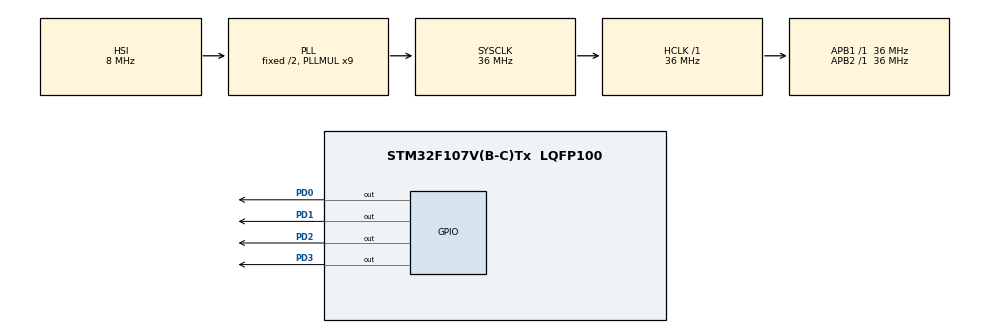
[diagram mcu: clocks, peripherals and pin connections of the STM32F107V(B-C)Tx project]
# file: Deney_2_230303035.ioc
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Mcu.Family=STM32F1
Mcu.Name=STM32F107V(B-C)Tx
Mcu.Package=LQFP100
NVIC.PriorityGroup=NVIC_PRIORITYGROUP_4
NVIC.TIM1_UP_IRQn=true\:0\:0\:false\:false\:true\:true\:true\:true
PA13.Mode=Serial_Wire
PA13.Signal=SYS_JTMS-SWDIO
PA14.Mode=Serial_Wire
PA14.Signal=SYS_JTCK-SWCLK
PD0.GPIO_Speed=GPIO_SPEED_FREQ_HIGH
PD0.Signal=GPIO_Output
PD1.GPIO_Speed=GPIO_SPEED_FREQ_HIGH
PD1.Signal=GPIO_Output
PD2.GPIO_Speed=GPIO_SPEED_FREQ_HIGH
PD2.Signal=GPIO_Output
PD3.GPIO_Speed=GPIO_SPEED_FREQ_HIGH
PD3.Signal=GPIO_Output
ProjectManager.HeapSize=0x200
ProjectManager.StackSize=0x400
ProjectManager.TargetToolchain=STM32CubeIDE
RCC.AHBFreq_Value=36000000
RCC.APB1Freq_Value=36000000
RCC.APB1TimFreq_Value=36000000
RCC.APB2Freq_Value=36000000
RCC.APB2TimFreq_Value=36000000
RCC.HCLKFreq_Value=36000000
RCC.PLLMUL=RCC_PLL_MUL9
RCC.SYSCLKFreq_VALUE=36000000
RCC.SYSCLKSource=RCC_SYSCLKSOURCE_PLLCLK
RCC.USBFreq_Value=24000000
TIM1.Period=500-1
TIM1.Prescaler=36-1
VP_TIM1_VS_ClockSourceINT.Mode=Internal
board=custom

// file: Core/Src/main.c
/* USER CODE BEGIN Header */
/**
  ******************************************************************************
  * @file           : main.c
  * @brief          : Main program body
  ******************************************************************************
  * @attention
  *
  * Copyright (c) 2026 STMicroelectronics.
  * All rights reserved.
  *
  * This software is licensed under terms that can be found in the LICENSE file
  * in the root directory of this software component.
  * If no LICENSE file comes with this software, it is provided AS-IS.
  *
  ******************************************************************************
  */
/* USER CODE END Header */
#include "main.h"

TIM_HandleTypeDef htim1;

void SystemClock_Config(void);
static void MX_GPIO_Init(void);
static void MX_TIM1_Init(void);

/* USER CODE BEGIN 0 */
	uint32_t count = 0;
/* USER CODE END 0 */

int main(void)
{

  /* MCU Configuration--------------------------------------------------------*/

  /* Reset of all peripherals, Initializes the Flash interface and the Systick. */
  HAL_Init();

  /* Configure the system clock */
  SystemClock_Config();

  /* Initialize all configured peripherals */
  MX_GPIO_Init();
  MX_TIM1_Init();
  /* USER CODE BEGIN 2 */

  HAL_TIM_Base_Start_IT(&htim1);

  /* USER CODE END 2 */

  /* Infinite loop */
  while (1)
    {

    /* USER CODE BEGIN 3 */
  	  switch(count)
  	  {
  	  case 1:
  		  GPIOD->ODR=0x00000008;
  		  break ;
  	  case 2:
  		  GPIOD->ODR=0x00000004;
  		  break ;
  	  case 3:
  		  GPIOD->ODR=0x00000002 ;
  		  break ;
  	  case 4:
  		  GPIOD->ODR=0x00000001 ;
  		  break ;
  	  default :
  		  count=1;
  		  GPIOD->ODR=0x00000000 ;
  		  break;
  	  }
    }
  /* USER CODE END 3 */
}

void SystemClock_Config(void)
{
  RCC_OscInitTypeDef RCC_OscInitStruct = {0};
  RCC_ClkInitTypeDef RCC_ClkInitStruct = {0};

  /** Initializes the RCC Oscillators according to the specified parameters
  * in the RCC_OscInitTypeDef structure.
  */
  RCC_OscInitStruct.OscillatorType = RCC_OSCILLATORTYPE_HSI;
  RCC_OscInitStruct.HSIState = RCC_HSI_ON;
  RCC_OscInitStruct.HSICalibrationValue = RCC_HSICALIBRATION_DEFAULT;
  RCC_OscInitStruct.Prediv1Source = RCC_PREDIV1_SOURCE_HSE;
  RCC_OscInitStruct.PLL.PLLState = RCC_PLL_ON;
  RCC_OscInitStruct.PLL.PLLSource = RCC_PLLSOURCE_HSI_DIV2;
  RCC_OscInitStruct.PLL.PLLMUL = RCC_PLL_MUL9;
  RCC_OscInitStruct.PLL2.PLL2State = RCC_PLL_NONE;
  if (HAL_RCC_OscConfig(&RCC_OscInitStruct) != HAL_OK)
  {
    Error_Handler();
  }

  /** Initializes the CPU, AHB and APB buses clocks
  */
  RCC_ClkInitStruct.ClockType = RCC_CLOCKTYPE_HCLK|RCC_CLOCKTYPE_SYSCLK
                              |RCC_CLOCKTYPE_PCLK1|RCC_CLOCKTYPE_PCLK2;
  RCC_ClkInitStruct.SYSCLKSource = RCC_SYSCLKSOURCE_PLLCLK;
  RCC_ClkInitStruct.AHBCLKDivider = RCC_SYSCLK_DIV1;
  RCC_ClkInitStruct.APB1CLKDivider = RCC_HCLK_DIV1;
  RCC_ClkInitStruct.APB2CLKDivider = RCC_HCLK_DIV1;

  if (HAL_RCC_ClockConfig(&RCC_ClkInitStruct, FLASH_LATENCY_1) != HAL_OK)
  {
    Error_Handler();
  }

  /** Configure the Systick interrupt time
  */
  __HAL_RCC_PLLI2S_ENABLE();
}

static void MX_TIM1_Init(void)
{

  TIM_ClockConfigTypeDef sClockSourceConfig = {0};
  TIM_MasterConfigTypeDef sMasterConfig = {0};

  htim1.Instance = TIM1;
  htim1.Init.Prescaler = 36-1;
  htim1.Init.CounterMode = TIM_COUNTERMODE_UP;
  htim1.Init.Period = 500-1;
  htim1.Init.ClockDivision = TIM_CLOCKDIVISION_DIV1;
  htim1.Init.RepetitionCounter = 0;
  htim1.Init.AutoReloadPreload = TIM_AUTORELOAD_PRELOAD_DISABLE;
  if (HAL_TIM_Base_Init(&htim1) != HAL_OK)
  {
    Error_Handler();
  }
  sClockSourceConfig.ClockSource = TIM_CLOCKSOURCE_INTERNAL;
  if (HAL_TIM_ConfigClockSource(&htim1, &sClockSourceConfig) != HAL_OK)
  {
    Error_Handler();
  }
  sMasterConfig.MasterOutputTrigger = TIM_TRGO_RESET;
  sMasterConfig.MasterSlaveMode = TIM_MASTERSLAVEMODE_DISABLE;
  if (HAL_TIMEx_MasterConfigSynchronization(&htim1, &sMasterConfig) != HAL_OK)
  {
    Error_Handler();
  }

}

static void MX_GPIO_Init(void)
{
  GPIO_InitTypeDef GPIO_InitStruct = {0};

  /* GPIO Ports Clock Enable */
  __HAL_RCC_GPIOA_CLK_ENABLE();
  __HAL_RCC_GPIOD_CLK_ENABLE();

  /*Configure GPIO pin Output Level */
  HAL_GPIO_WritePin(GPIOD, GPIO_PIN_0|GPIO_PIN_1|GPIO_PIN_2|GPIO_PIN_3, GPIO_PIN_RESET);

  /*Configure GPIO pins : PD0 PD1 PD2 PD3 */
  GPIO_InitStruct.Pin = GPIO_PIN_0|GPIO_PIN_1|GPIO_PIN_2|GPIO_PIN_3;
  GPIO_InitStruct.Mode = GPIO_MODE_OUTPUT_PP;
  GPIO_InitStruct.Pull = GPIO_NOPULL;
  GPIO_InitStruct.Speed = GPIO_SPEED_FREQ_HIGH;
  HAL_GPIO_Init(GPIOD, &GPIO_InitStruct);

}

/* USER CODE BEGIN 4 */

uint32_t ms_cnt;
uint32_t sn_cnt;
uint32_t min_cnt;
uint32_t h_cnt;

//tim1 counter period 500-1 yapacaksın

void HAL_TIM_PeriodElapsedCallback(TIM_HandleTypeDef *htim) // 1sn için
{
	ms_cnt++;
	if(ms_cnt > 1999){ //500ms olduğu zaman (ms_cnt > 1999) olacak
		ms_cnt = 0;
		count++;
		sn_cnt++;
		if(ms_cnt > 59){
			sn_cnt = 0;
			min_cnt++;
			if(min_cnt > 59){
				min_cnt = 0;
				h_cnt++;
			}
		}
	}
}

/* USER CODE END 4 */

void Error_Handler(void)
{
  __disable_irq();
  while (1)
  {
  }
}
